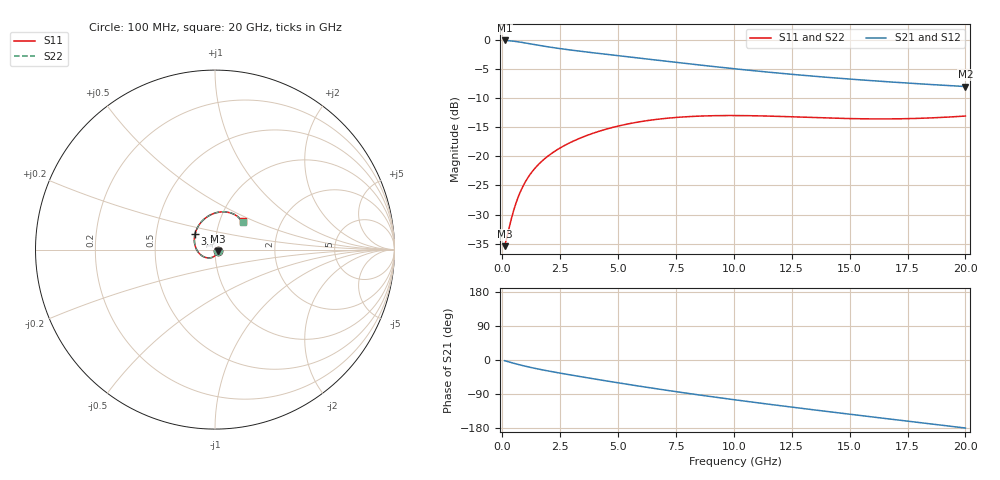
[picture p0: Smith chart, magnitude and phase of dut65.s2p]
! Touchstone file exported from HFSS 2023.1.0
!  File:  D:/Users/fzz/RDL_TSV/temp_RDL_TSV_65_1778746373.aedt
!  Generated:  4:21:54 %x4E0B%x5348  5%x6708 14, 2026
!  Design:  RDL_TSV
!  Project:  temp_RDL_TSV_65_1778746373
!  Setup:  Setup1
!  Solution:  Sweep
! Variables:
!  dtsv = 20.66um
!  hbump = 3um
!  htsv = 71.61um
!  ldown = 371.39um
!  lrdl = 183.32um
!  p = 40
!  p1 = 48.32um
!  rhole = 10um
!  subl = 1847.45um
!  t = 450um
!  tdown = 3.38um
!  trdl = 3.45um
!  viad = 10um
!  wdown = 10.08um
!  wrdl = 17.95um
!  xbump = 18um
# GHz S MA R 50.000000
! Terminal data exported
! Port[1] = TM1_1_T1
! Port[2] = TM1_4_T1
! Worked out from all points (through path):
!   200 points, 100 MHz to 20 GHz, reference 50 ohm
!   highest |S21| = -0.14 dB at 100 MHz (marker M1); lowest = -8.0 dB at 20 GHz (marker M2)
!   group delay of S21, straight-line fit = 23.6 ps
!   lowest |S11| = -35.4 dB at 100 MHz (marker M3), VSWR 1.03, Z = 51.5 - j0.789 ohm
!   |S11| at or under -10 dB: start of sweep to end of sweep
!   |S22| runs from -35.4 to -13.0 dB; largest |S21 - S12| = 9.8e-15
!   S11 on the Smith chart (normalised r, x): 100 MHz: 1.03, -0.02; 3.3 GHz: 0.79, +0.14; 20 GHz: 1.29, +0.43
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0.1  0.01695 -26.8  0.9835 -1.8  0.9835 -1.8  0.01695 -26.8
! Gamma 0 0 0 0
! Port Impedance 50 0 50 0
0.4  0.02956 -79.7  0.9738 -7.1  0.9738 -7.1  0.02956 -79.8
0.6  0.04014 -100.4  0.963 -10.4  0.963 -10.4  0.04014 -100.5
0.9  0.05564 -123.6  0.9428 -15.0  0.9428 -15.0  0.05564 -123.6
1.2  0.06981 -141.9  0.9208 -19.3  0.9208 -19.3  0.06983 -141.9
1.6  0.08656 -162.0  0.8919 -24.4  0.8919 -24.4  0.0866 -162.1
2  0.1013 -178.7  0.8657 -29.1  0.8657 -29.1  0.1014 -178.8
2.6  0.121 160.8  0.8317 -35.8  0.8317 -35.8  0.1211 160.7
3.3  0.1414 141.7  0.7981 -43.1  0.7981 -43.1  0.1416 141.7
3.5  0.1468 137.0  0.7892 -45.2  0.7892 -45.2  0.147 137.0
4.3  0.1666 120.5  0.7559 -53.3  0.7559 -53.3  0.1669 120.5
5.1  0.1834 107.0  0.7246 -61.2  0.7246 -61.2  0.1838 106.9
5.9  0.197 95.6  0.6947 -68.9  0.6947 -68.9  0.1975 95.6
6.8  0.2086 84.9  0.6624 -77.2  0.6624 -77.2  0.2092 84.9
8.4  0.2205 69.9  0.6095 -91.4  0.6095 -91.4  0.2212 69.9
10.1  0.2234 58.5  0.5605 -105.5  0.5605 -105.5  0.2242 58.5
11.7  0.2204 51.1  0.5213 -118.2  0.5213 -118.2  0.2214 51.1
13.4  0.2149 46.3  0.4864 -131.2  0.4864 -131.2  0.2159 46.3
15  0.2104 44.2  0.459 -143.1  0.459 -143.1  0.2114 44.1
16.7  0.209 43.8  0.4344 -155.5  0.4344 -155.5  0.21 43.7
18.3  0.2124 44.4  0.4145 -167.2  0.4145 -167.2  0.2133 44.2
20  0.2212 45.1  0.3959 -179.5  0.3959 -179.5  0.222 44.9
